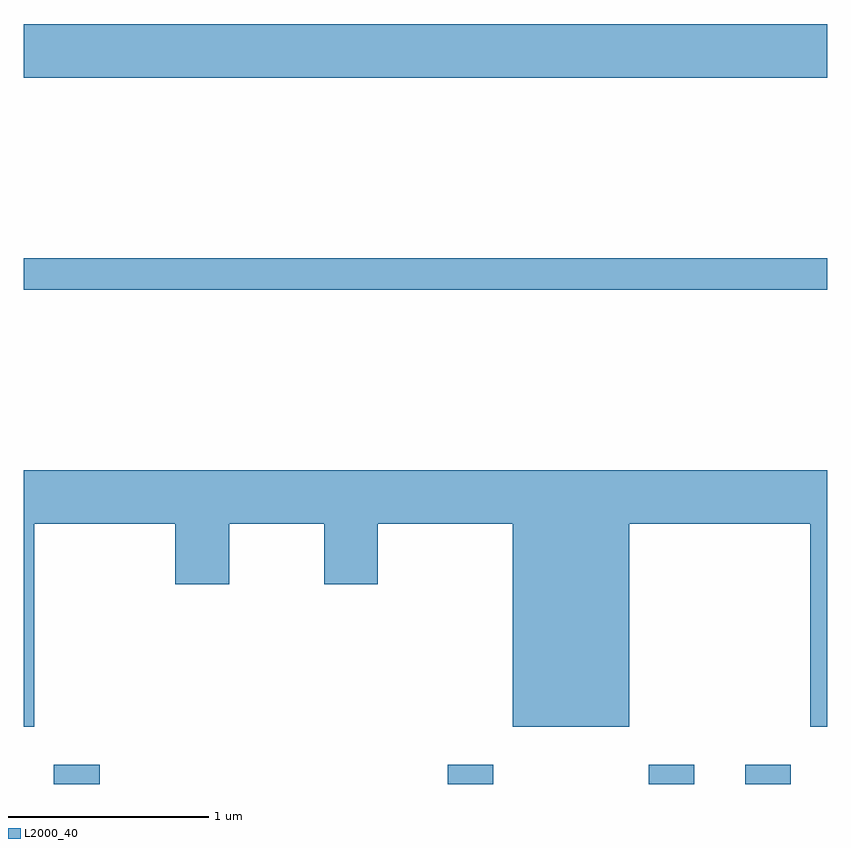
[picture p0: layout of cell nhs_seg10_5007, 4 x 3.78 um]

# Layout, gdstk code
import gdstk
lib = gdstk.Library(unit=1e-6, precision=1e-09)
def R(c, l, rs):  # rectangles x0, y0, x1, y1
    for r in rs: c.add(gdstk.rectangle(r[:2], r[2:], *l))
def P(c, l, *ps):  # polygons
    for p in ps: c.add(gdstk.Polygon(p, *l))
L2000_40 = (2000, 40)

nhs_seg10_5007 = lib.new_cell('nhs_seg10_5007')
R(nhs_seg10_5007, L2000_40, [(331.761,2212.522,331.989,2212.619), (333.721,2212.522,333.949,2212.619), (334.721,2212.522,334.949,2212.619), (335.201,2212.522,335.429,2212.619), (331.611,2214.981,335.611,2215.139), (331.611,2216.036,335.611,2216.304)])
P(nhs_seg10_5007, L2000_40, [(331.664,2213.816),(332.366,2213.816),(332.366,2213.516),(332.634,2213.516),(332.634,2213.816),(333.106,2213.816),(333.106,2213.516),(333.374,2213.516),(333.374,2213.816),(334.046,2213.816),(334.046,2212.806),(334.624,2212.806),(334.624,2213.816),(335.526,2213.816),(335.526,2212.806),(335.611,2212.806),(335.611,2214.084),(331.611,2214.084),(331.611,2212.806),(331.664,2212.806)])

lib.write_gds('nhs_seg10_5007.gds')
